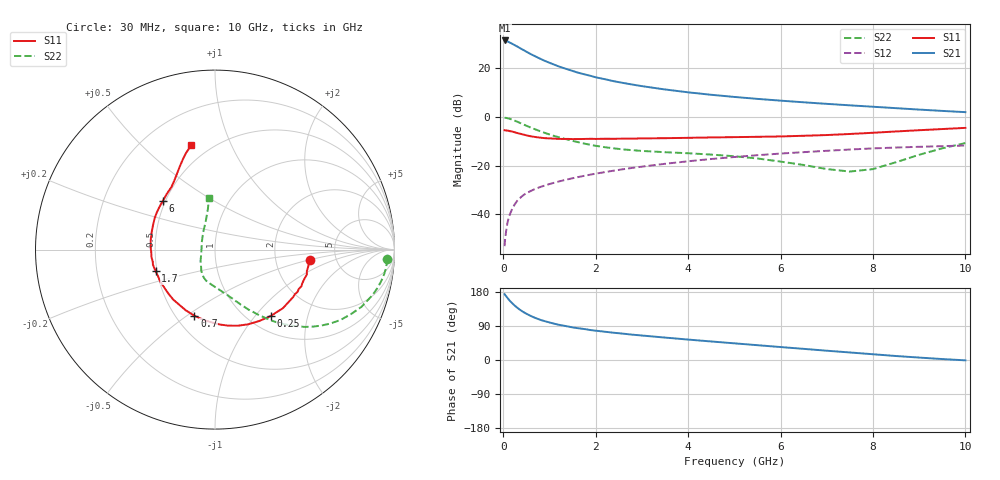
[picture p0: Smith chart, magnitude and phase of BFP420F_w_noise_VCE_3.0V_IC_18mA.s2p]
! Infineon Technologies  Discrete & RF Semiconductors
! BFP420F
! VCE =  3.0 V,  IC =  18 mA
! Common Emitter S-Parameters:  Sep 2011
# GHz  S  MA  R  50
!  f  S11  S21  S12  S22
! GHz  MAG  ANG  MAG  ANG  MAG  ANG  MAG  ANG
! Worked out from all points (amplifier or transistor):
!   54 points, 30 MHz to 10 GHz, reference 50 ohm
!   highest |S21| = 31.5 dB at 30 MHz (marker M1)
!   |S21| within 3 dB of that: start of sweep to 349.9 MHz
!   unconditionally stable (mu >= 1): 1.74 GHz to end of sweep
!   at 120 MHz: K = 0.26, MSG = 36.2 dB, |S12| = -41.5 dB
!   at 1.3 GHz: K = 0.88, MSG = 23.1 dB, |S12| = -26.1 dB
!   at 10 GHz: K = 1.24, MAG = 3.9 dB, |S12| = -11.8 dB
!   lowest NFmin = 1.47 dB at 900 MHz
!   S11 on the Smith chart (normalised r, x): 30 MHz: 3.18, -0.51; 250 MHz: 1.25, -1.21; 700 MHz: 0.62, -0.53; 1.7 GHz: 0.49, -0.13; 6 GHz: 0.48, +0.31; 10 GHz: 0.40, +0.72
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0.03  0.5321 -6.2  37.44 173.8  0.0022 82.8  0.9611 -3.1
0.05  0.5282 -9.8  36.78 170.1  0.0036 87.3  0.9592 -5.5
0.07  0.5304 -15.1  36.55 167.4  0.005 84.0  0.9531 -8.0
0.12  0.5157 -25.3  34.9 159.3  0.0084 79.3  0.9285 -13.5
0.2  0.4999 -40.7  31.79 149.2  0.0132 75.0  0.8757 -21.4
0.25  0.483 -49.9  29.88 143.4  0.016 72.8  0.8376 -25.5
0.3  0.4682 -58.2  28.25 138.3  0.0187 70.4  0.8013 -29.3
0.35  0.4555 -66.0  26.5 133.6  0.021 68.5  0.763 -32.7
0.45  0.4306 -79.8  23.43 125.6  0.0252 65.5  0.6938 -38.2
0.6  0.3995 -97.5  19.52 116.0  0.0302 62.8  0.6012 -44.8
0.7  0.3862 -107.3  17.53 110.7  0.0334 61.7  0.5525 -48.3
0.9  0.3661 -123.1  14.24 102.4  0.0389 60.6  0.4702 -53.8
1.1  0.3579 -135.6  11.96 95.9  0.0443 60.1  0.4079 -58.5
1.4  0.3534 -149.7  9.491 88.5  0.0523 60.0  0.3411 -64.7
1.7  0.3518 -160.4  7.771 82.6  0.0601 59.7  0.2904 -70.3
2.4  0.3555 -177.6  5.415 71.8  0.0789 58.3  0.2258 -83.6
3.5  0.366 164.6  3.677 59.2  0.1088 54.6  0.1884 -100.3
5.5  0.3904 142.5  2.354 39.1  0.1635 43.9  0.14 -123.1
6  0.3974 136.9  2.165 34.2  0.1766 40.9  0.1208 -130.1
7  0.4246 124.9  1.86 24.5  0.2013 34.6  0.0848 -156.4
8.5  0.5034 112.9  1.516 10.5  0.2351 24.1  0.1173 124.0
10  0.5962 102.7  1.256 -0.9  0.2584 14.9  0.2905 96.5
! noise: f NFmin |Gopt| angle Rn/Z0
0.45  1.49  0.14  179  0.11
0.9  1.47  0.15  176  0.13
1.9  1.6  0.24  -172  0.18
2.4  1.67  0.25  -168  0.12
3.5  1.9  0.27  -159  0.16
